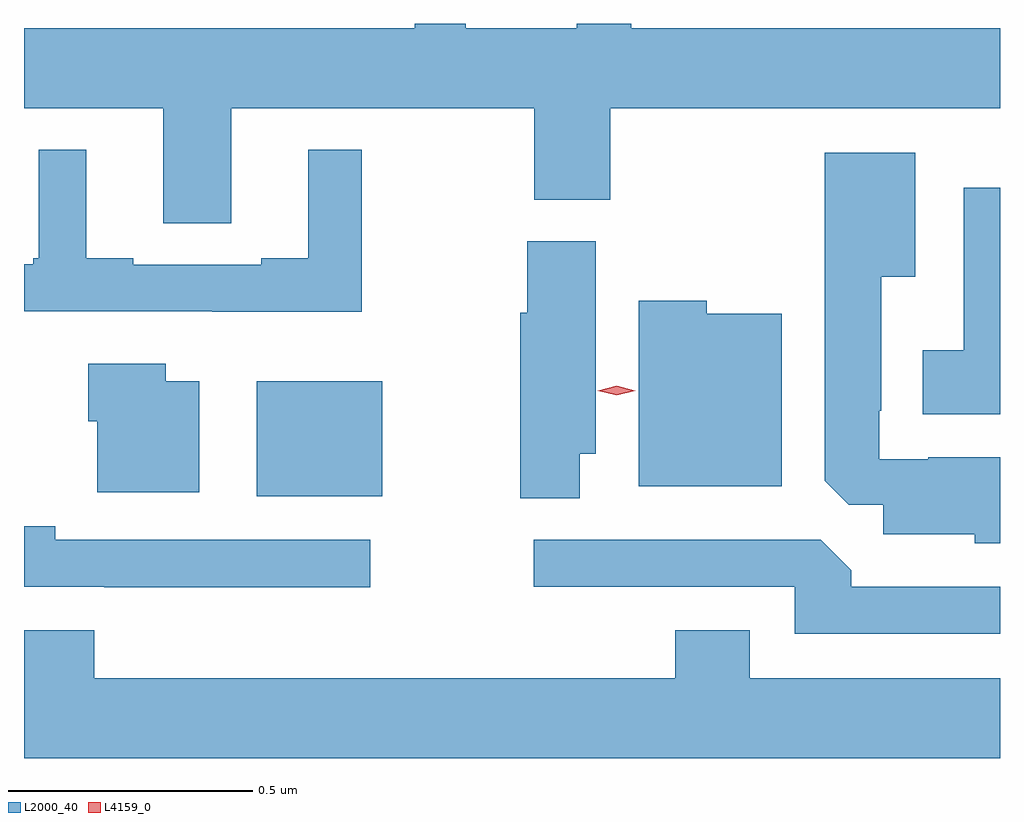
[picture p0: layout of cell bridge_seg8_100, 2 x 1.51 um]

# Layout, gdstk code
import gdstk
lib = gdstk.Library(unit=1e-6, precision=1e-09)
def R(c, l, rs):  # rectangles x0, y0, x1, y1
    for r in rs: c.add(gdstk.rectangle(r[:2], r[2:], *l))
def P(c, l, *ps):  # polygons
    for p in ps: c.add(gdstk.Polygon(p, *l))
L2000_40 = (2000, 40)
L4159_0 = (4159, 0)

bridge_seg8_100 = lib.new_cell('bridge_seg8_100')
R(bridge_seg8_100, L2000_40, [(684.947,1139.681,685.204,1139.917)])
P(bridge_seg8_100, L2000_40, [(684.895,1140.476),(685.516,1140.476),(685.516,1140.289),(685.671,1140.289),(685.671,1140.476),(686.47,1140.476),(686.47,1140.64),(685.714,1140.64),(685.714,1140.65),(685.603,1140.65),(685.603,1140.64),(685.375,1140.64),(685.375,1140.65),(685.271,1140.65),(685.271,1140.64),(684.47,1140.64),(684.47,1140.476),(684.755,1140.476),(684.755,1140.241),(684.895,1140.241)],
  [(685.162,1140.391),(685.052,1140.391),(685.052,1140.169),(684.956,1140.169),(684.956,1140.156),(684.694,1140.156),(684.694,1140.169),(684.598,1140.169),(684.598,1140.391),(684.5,1140.391),(684.5,1140.169),(684.489,1140.169),(684.489,1140.157),(684.47,1140.157),(684.47,1140.06),(684.856,1140.06),(684.856,1140.059),(685.162,1140.059)],
  [(686.47,1139.761),(686.323,1139.761),(686.323,1139.757),(686.223,1139.757),(686.223,1139.857),(686.227,1139.857),(686.227,1140.131),(686.296,1140.131),(686.296,1140.385),(686.111,1140.385),(686.111,1139.713),(686.16,1139.664),(686.231,1139.664),(686.231,1139.603),(686.418,1139.603),(686.418,1139.585),(686.47,1139.585)],
  [(686.47,1140.313),(686.396,1140.313),(686.396,1139.98),(686.312,1139.98),(686.312,1139.849),(686.47,1139.849)],
  [(685.609,1139.768),(685.642,1139.768),(685.642,1140.204),(685.501,1140.204),(685.501,1140.057),(685.487,1140.057),(685.487,1139.677),(685.609,1139.677)],
  [(686.023,1140.055),(685.869,1140.055),(685.869,1140.082),(685.73,1140.082),(685.73,1139.702),(686.023,1139.702)],
  [(684.829,1139.917),(684.76,1139.917),(684.76,1139.953),(684.602,1139.953),(684.602,1139.835),(684.62,1139.835),(684.62,1139.69),(684.829,1139.69)],
  [(685.18,1139.592),(684.534,1139.592),(684.534,1139.62),(684.47,1139.62),(684.47,1139.496),(684.634,1139.496),(684.634,1139.495),(685.18,1139.495)],
  [(686.47,1139.496),(686.165,1139.496),(686.165,1139.53),(686.103,1139.592),(685.515,1139.592),(685.515,1139.496),(686.049,1139.496),(686.049,1139.4),(686.47,1139.4)],
  [(686.47,1139.308),(685.957,1139.308),(685.957,1139.407),(685.805,1139.407),(685.805,1139.308),(684.614,1139.308),(684.614,1139.407),(684.47,1139.407),(684.47,1139.144),(686.47,1139.144)])
P(bridge_seg8_100, L4159_0, [(685.685,1139.888),(685.646,1139.897),(685.646,1139.898),(685.646,1139.898),(685.685,1139.908),(685.723,1139.898),(685.723,1139.898),(685.723,1139.897)])

lib.write_gds('bridge_seg8_100.gds')
